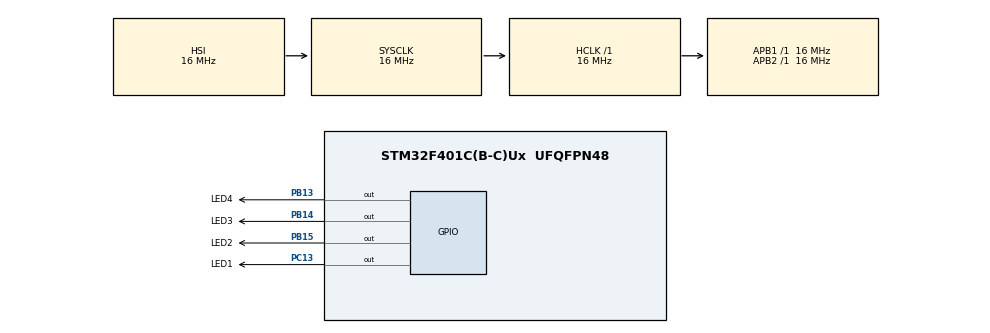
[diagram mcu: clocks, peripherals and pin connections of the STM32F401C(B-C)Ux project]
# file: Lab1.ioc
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Mcu.Family=STM32F4
Mcu.Name=STM32F401C(B-C)Ux
Mcu.Package=UFQFPN48
NVIC.PriorityGroup=NVIC_PRIORITYGROUP_4
PB13.GPIO_Label=LED4
PB13.Signal=GPIO_Output
PB14.GPIO_Label=LED3
PB14.Signal=GPIO_Output
PB15.GPIO_Label=LED2
PB15.Signal=GPIO_Output
PC13-ANTI_TAMP.GPIO_Label=LED1
PC13-ANTI_TAMP.Signal=GPIO_Output
ProjectManager.HeapSize=0x200
ProjectManager.StackSize=0x400
ProjectManager.TargetToolchain=STM32CubeIDE
RCC.AHBFreq_Value=16000000
RCC.APB1Freq_Value=16000000
RCC.APB2Freq_Value=16000000
RCC.CortexFreq_Value=16000000
RCC.HSE_VALUE=25000000
RCC.HSI_VALUE=16000000
RCC.LSE_VALUE=32768
RCC.SYSCLKFreq_VALUE=16000000
RCC.VCOOutputFreq_Value=192000000
board=custom

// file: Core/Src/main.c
/* USER CODE BEGIN Header */
/**
  ******************************************************************************
  * @file           : main.c
  * @brief          : Main program body
  ******************************************************************************
  * @attention
  *
  * Copyright (c) 2022 STMicroelectronics.
  * All rights reserved.
  *
  * This software is licensed under terms that can be found in the LICENSE file
  * in the root directory of this software component.
  * If no LICENSE file comes with this software, it is provided AS-IS.
  *
  ******************************************************************************
  */
/* USER CODE END Header */
#include "main.h"
#include "gpio.h"

void SystemClock_Config(void);

int main(void)
{

  /* MCU Configuration--------------------------------------------------------*/

  /* Reset of all peripherals, Initializes the Flash interface and the Systick. */
  HAL_Init();

  /* Configure the system clock */
  SystemClock_Config();

  /* Initialize all configured peripherals */
  MX_GPIO_Init();

  /* Infinite loop */
  /* USER CODE BEGIN WHILE */

  while (1)
  {

 	  	  HAL_GPIO_TogglePin(LED1_GPIO_Port, LED1_Pin);
	  	  HAL_Delay(200);
	  	  HAL_GPIO_TogglePin(LED1_GPIO_Port, LED1_Pin);
	  	  HAL_Delay(200);
	  	  HAL_GPIO_TogglePin(LED2_GPIO_Port, LED2_Pin);
	  	  HAL_Delay(200);
	  	  HAL_GPIO_TogglePin(LED2_GPIO_Port, LED2_Pin);
	  	  HAL_Delay(200);
	  	  HAL_Delay(200);
	  	  HAL_GPIO_TogglePin(LED3_GPIO_Port, LED3_Pin);
	  	  HAL_Delay(200);
	  	  HAL_GPIO_TogglePin(LED3_GPIO_Port, LED3_Pin);
	  	  HAL_Delay(200);
	  	  HAL_Delay(200);
	  	  HAL_GPIO_TogglePin(LED4_GPIO_Port, LED4_Pin);
	  	  HAL_Delay(200);
	  	  HAL_GPIO_TogglePin(LED4_GPIO_Port, LED4_Pin);
	  	  HAL_Delay(200);

	  	  /* USER CODE END WHILE */

  }
}

void SystemClock_Config(void)
{
  RCC_OscInitTypeDef RCC_OscInitStruct = {0};
  RCC_ClkInitTypeDef RCC_ClkInitStruct = {0};

  /** Configure the main internal regulator output voltage
  */
  __HAL_RCC_PWR_CLK_ENABLE();
  __HAL_PWR_VOLTAGESCALING_CONFIG(PWR_REGULATOR_VOLTAGE_SCALE2);

  /** Initializes the RCC Oscillators according to the specified parameters
  * in the RCC_OscInitTypeDef structure.
  */
  RCC_OscInitStruct.OscillatorType = RCC_OSCILLATORTYPE_HSI;
  RCC_OscInitStruct.HSIState = RCC_HSI_ON;
  RCC_OscInitStruct.HSICalibrationValue = RCC_HSICALIBRATION_DEFAULT;
  RCC_OscInitStruct.PLL.PLLState = RCC_PLL_NONE;
  if (HAL_RCC_OscConfig(&RCC_OscInitStruct) != HAL_OK)
  {
    Error_Handler();
  }

  /** Initializes the CPU, AHB and APB buses clocks
  */
  RCC_ClkInitStruct.ClockType = RCC_CLOCKTYPE_HCLK|RCC_CLOCKTYPE_SYSCLK
                              |RCC_CLOCKTYPE_PCLK1|RCC_CLOCKTYPE_PCLK2;
  RCC_ClkInitStruct.SYSCLKSource = RCC_SYSCLKSOURCE_HSI;
  RCC_ClkInitStruct.AHBCLKDivider = RCC_SYSCLK_DIV1;
  RCC_ClkInitStruct.APB1CLKDivider = RCC_HCLK_DIV1;
  RCC_ClkInitStruct.APB2CLKDivider = RCC_HCLK_DIV1;

  if (HAL_RCC_ClockConfig(&RCC_ClkInitStruct, FLASH_LATENCY_0) != HAL_OK)
  {
    Error_Handler();
  }
}

void Error_Handler(void)
{
  __disable_irq();
  while (1)
  {
  }
}
